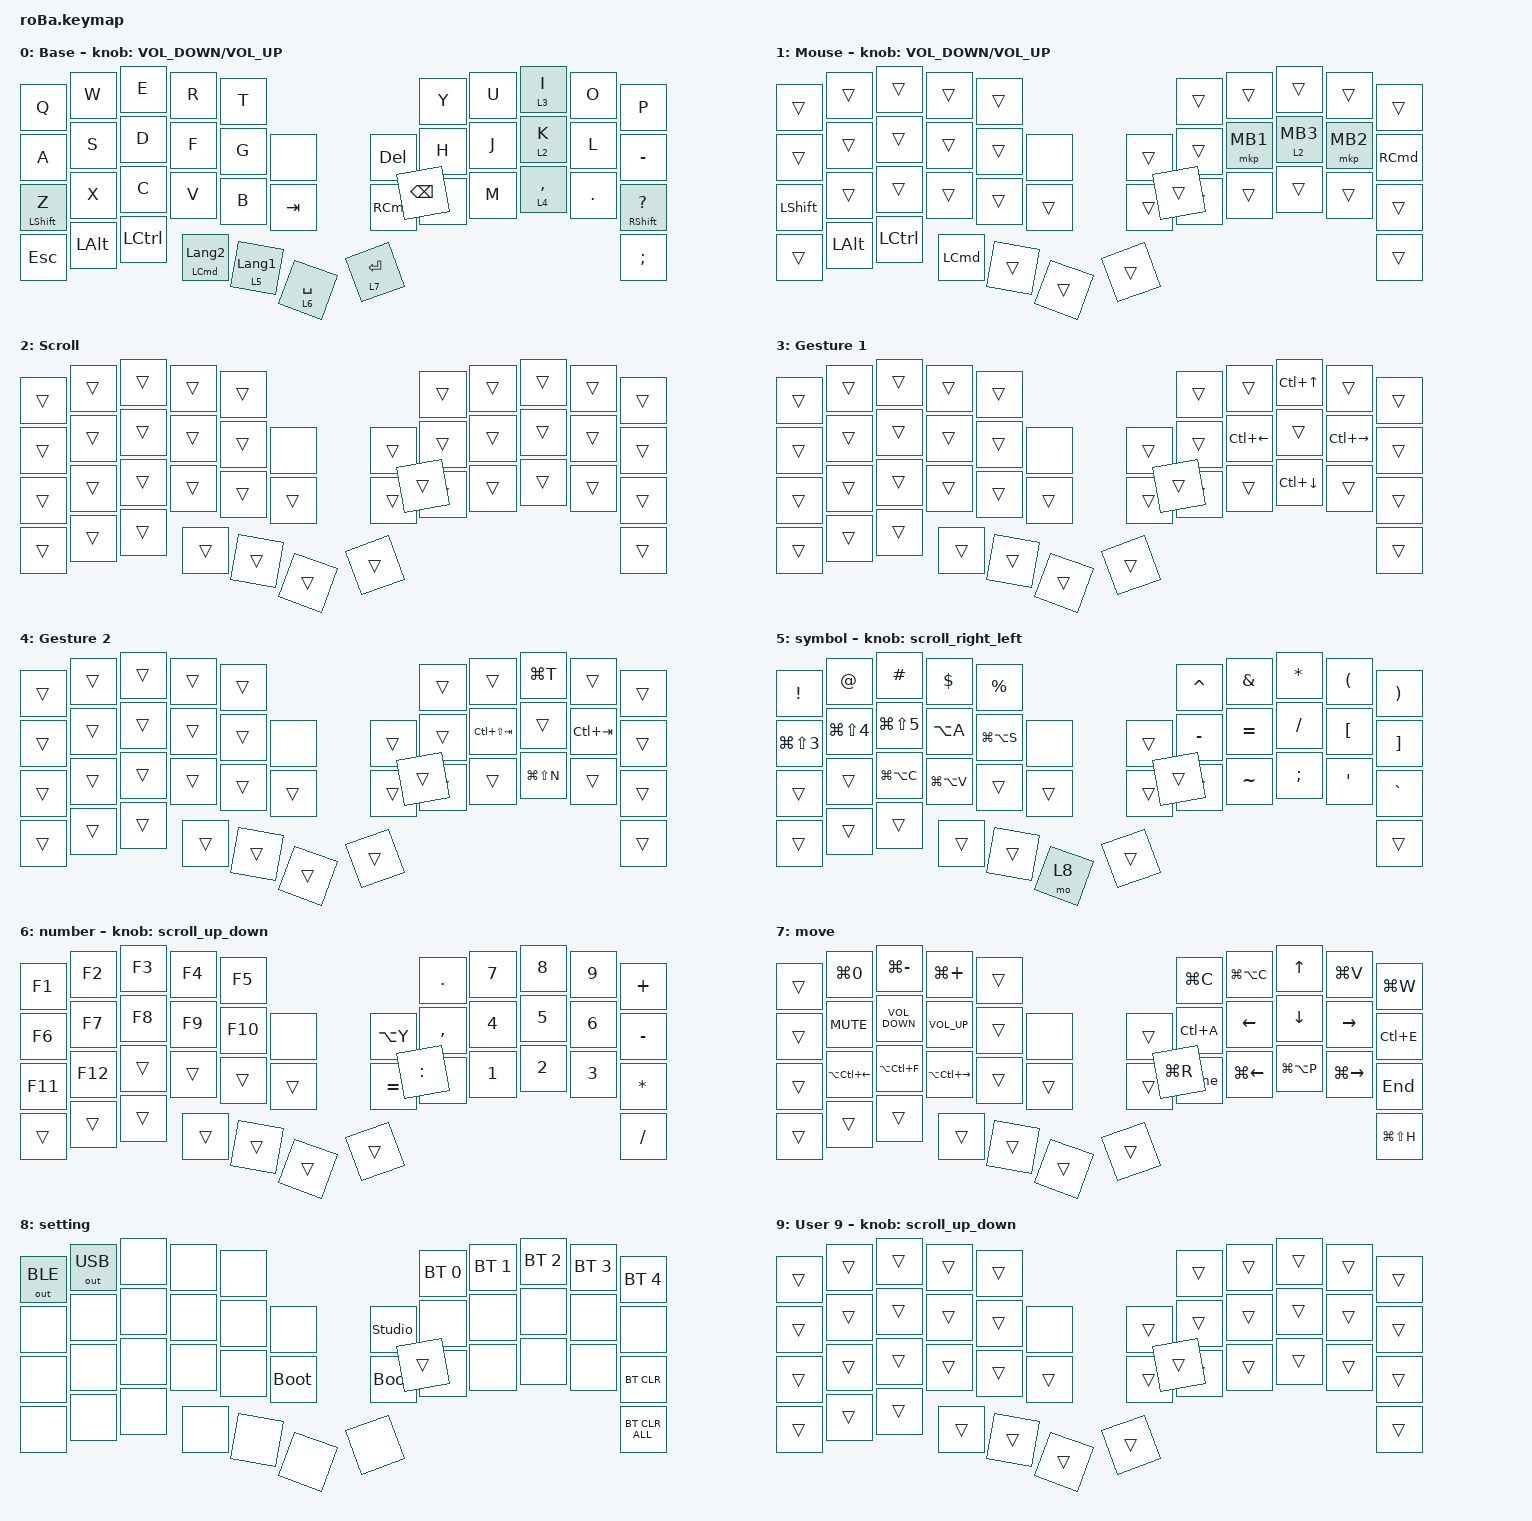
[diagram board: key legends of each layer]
#include <input/processors.dtsi>
#include <behaviors.dtsi>
#include <dt-bindings/zmk/bt.h>
#include <dt-bindings/zmk/keys.h>
#include <dt-bindings/zmk/outputs.h>
#include <dt-bindings/zmk/pointing.h>

#undef ZMK_POINTING_DEFAULT_SCRL_VAL

#define ZMK_POINTING_DEFAULT_SCRL_VAL 100

&mt {
    tapping-term-ms = <300>;
    flavor = "balanced";
    quick-tap-ms = <0>;
};

&lt {
    tapping-term-ms = <300>;
    quick-tap-ms = <300>;
    flavor = "balanced";
};

/* Keep Keymap Editor's standard two-parameter encoder UI while filtering
 * both directions through the shared two-input volume divider. */

&inc_dec_kp {
    bindings = <&encoder_key_divider_cw>, <&encoder_key_divider_ccw>;
};

&zip_temp_layer {
    require-prior-idle-ms = <300>;
    excluded-positions = <AML_EXCLUDED_POSITIONS>;
};

&mkp_input_listener { input-processors = <&zip_temp_layer 1 10000>; };

/ {
    combos {
        compatible = "zmk,combos";

        exit_app {
            bindings = <&kp LG(Q)>;
            key-positions = <8 9>;
        };

        log_off {
            bindings = <&kp LG(LC(Q))>;
            key-positions = <33 32>;
        };
    };

    behaviors {
        mouse_lt: mouse_layer_tap {
            compatible = "zmk,behavior-hold-tap";
            #binding-cells = <2>;
            flavor = "tap-preferred";
            tapping-term-ms = <300>;
            quick-tap-ms = <300>;
            bindings = <&mo>, <&mkp>;

            display-name = "Mouse Layer-Tap";
        };

        encoder_key_divider_cw: encoder_key_divider_cw {
            compatible = "zmk,behavior-encoder-key-divider";
            #binding-cells = <1>;
            bindings = <&kp>;
            divisor = <2>;
            timeout-ms = <300>;
            direction = <1>;
            display-name = "Encoder Two-Step Clockwise";
        };

        encoder_key_divider_ccw: encoder_key_divider_ccw {
            compatible = "zmk,behavior-encoder-key-divider";
            #binding-cells = <1>;
            bindings = <&kp>;
            divisor = <2>;
            timeout-ms = <300>;
            direction = <2>;
            display-name = "Encoder Two-Step Counter-Clockwise";
        };

        scroll_up_down: mouse_wheel_up_down {
            compatible = "zmk,behavior-sensor-rotate";
            #sensor-binding-cells = <0>;
            bindings = <&msc SCRL_DOWN>, <&msc SCRL_UP>;

            tap-ms = <20>;
        };

        scroll_down_up: mouse_wheel_down_up {
            compatible = "zmk,behavior-sensor-rotate";
            #sensor-binding-cells = <0>;
            bindings = <&msc SCRL_UP>, <&msc SCRL_DOWN>;

            tap-ms = <20>;
        };

        scroll_right_left: mouse_wheel_right_left {
            compatible = "zmk,behavior-sensor-rotate";
            #sensor-binding-cells = <0>;
            bindings = <&msc SCRL_LEFT>, <&msc SCRL_RIGHT>;

            tap-ms = <20>;
        };
    };

    keymap {
        compatible = "zmk,keymap";

        layer_0 {
            display-name = "Base";
            bindings = <
&kp Q             &kp W         &kp E      &kp R                        &kp T                                                 &kp Y          &kp U  &lt 3 I      &kp O    &kp P
&kp A             &kp S         &kp D      &kp F                        &kp G             &none            &kp DELETE         &kp H          &kp J  &lt 2 K      &kp L    &kp MINUS
&mt LEFT_SHIFT Z  &kp X         &kp C      &kp V                        &kp B             &kp TAB          &kp RIGHT_COMMAND  &kp N          &kp M  &lt 4 COMMA  &kp DOT  &mt RIGHT_SHIFT QUESTION
&kp ESCAPE        &kp LEFT_ALT  &kp LCTRL  &mt LEFT_COMMAND LANGUAGE_2  &lt 5 LANGUAGE_1  &lt 6 SPACE      &lt 7 ENTER        &kp BACKSPACE                               &kp SEMICOLON
            >;

            sensor-bindings = <&inc_dec_kp C_VOLUME_DOWN C_VOLUME_UP>;
        };

        layer_1 {
            display-name = "Mouse";
            bindings = <
&trans          &trans        &trans     &trans            &trans                      &trans  &trans    &trans           &trans    &trans
&trans          &trans        &trans     &trans            &trans  &none       &trans  &trans  &mkp MB1  &mouse_lt 2 MB3  &mkp MB2  &kp RIGHT_COMMAND
&kp LEFT_SHIFT  &trans        &trans     &trans            &trans  &trans      &trans  &trans  &trans    &trans           &trans    &trans
&trans          &kp LEFT_ALT  &kp LCTRL  &kp LEFT_COMMAND  &trans  &trans      &trans  &trans                                       &trans
            >;

            sensor-bindings = <&inc_dec_kp C_VOLUME_DOWN C_VOLUME_UP>;
        };

        layer_2 {
            display-name = "Scroll";
            bindings = <
&trans  &trans  &trans  &trans  &trans                      &trans  &trans  &trans  &trans  &trans
&trans  &trans  &trans  &trans  &trans  &none       &trans  &trans  &trans  &trans  &trans  &trans
&trans  &trans  &trans  &trans  &trans  &trans      &trans  &trans  &trans  &trans  &trans  &trans
&trans  &trans  &trans  &trans  &trans  &trans      &trans  &trans                          &trans
            >;
        };

        layer_3 {
            display-name = "Gesture 1";
            bindings = <
&trans  &trans  &trans  &trans  &trans                      &trans  &trans              &kp LC(UP_ARROW)    &trans               &trans
&trans  &trans  &trans  &trans  &trans  &none       &trans  &trans  &kp LC(LEFT_ARROW)  &trans              &kp LC(RIGHT_ARROW)  &trans
&trans  &trans  &trans  &trans  &trans  &trans      &trans  &trans  &trans              &kp LC(DOWN_ARROW)  &trans               &trans
&trans  &trans  &trans  &trans  &trans  &trans      &trans  &trans                                                               &trans
            >;
        };

        layer_4 {
            display-name = "Gesture 2";
            bindings = <
&trans  &trans  &trans  &trans  &trans                      &trans  &trans           &kp LG(T)      &trans       &trans
&trans  &trans  &trans  &trans  &trans  &none       &trans  &trans  &kp LC(LS(TAB))  &trans         &kp LC(TAB)  &trans
&trans  &trans  &trans  &trans  &trans  &trans      &trans  &trans  &trans           &kp LG(LS(N))  &trans       &trans
&trans  &trans  &trans  &trans  &trans  &trans      &trans  &trans                                               &trans
            >;
        };

        layer_5 {
            display-name = "symbol";
            bindings = <
&kp EXCLAMATION  &kp AT_SIGN     &kp HASH        &kp DOLLAR     &kp PERCENT                        &kp CARET  &kp AMPERSAND  &kp ASTERISK   &kp LEFT_PARENTHESIS  &kp RIGHT_PARENTHESIS
&kp LG(LS(N3))   &kp LG(LS(N4))  &kp LG(LS(N5))  &kp LA(A)      &kp LG(LA(S))  &none       &trans  &kp MINUS  &kp EQUAL      &kp SLASH      &kp LEFT_BRACKET      &kp RIGHT_BRACKET
&trans           &trans          &kp LG(LA(C))   &kp LG(LA(V))  &trans         &trans      &trans  &trans     &kp TILDE      &kp SEMICOLON  &kp SQT               &kp GRAVE
&trans           &trans          &trans          &trans         &trans         &mo 8       &trans  &trans                                                         &trans
            >;

            sensor-bindings = <&scroll_right_left>;
        };

        layer_6 {
            display-name = "number";
            bindings = <
&kp F1   &kp F2   &kp F3  &kp F4  &kp F5                          &kp PERIOD    &kp NUMBER_7  &kp NUMBER_8  &kp NUMBER_9  &kp PLUS
&kp F6   &kp F7   &kp F8  &kp F9  &kp F10  &none       &kp LA(Y)  &kp COMMA     &kp NUMBER_4  &kp NUMBER_5  &kp NUMBER_6  &kp MINUS
&kp F11  &kp F12  &trans  &trans  &trans   &trans      &kp EQUAL  &kp NUMBER_0  &kp NUMBER_1  &kp NUMBER_2  &kp NUMBER_3  &kp ASTERISK
&trans   &trans   &trans  &trans  &trans   &trans      &trans     &kp COLON                                               &kp SLASH
            >;

            sensor-bindings = <&scroll_up_down>;
        };

        layer_7 {
            display-name = "move";
            bindings = <
&trans  &kp LG(N0)              &kp LG(MINUS)      &kp LG(PLUS)             &trans                      &kp LG(C)  &kp LG(LA(C))       &kp UP_ARROW    &kp LG(V)            &kp LG(W)
&trans  &kp K_MUTE              &kp C_VOLUME_DOWN  &kp C_VOLUME_UP          &trans  &none       &trans  &kp LC(A)  &kp LEFT_ARROW      &kp DOWN_ARROW  &kp RIGHT_ARROW      &kp LC(E)
&trans  &kp LA(LC(LEFT_ARROW))  &kp LA(LC(F))      &kp LA(LC(RIGHT_ARROW))  &trans  &trans      &trans  &kp HOME   &kp LG(LEFT_ARROW)  &kp LG(LA(P))   &kp LG(RIGHT_ARROW)  &kp END
&trans  &trans                  &trans             &trans                   &trans  &trans      &trans  &kp LG(R)                                                           &kp LG(LS(H))
            >;
        };

        layer_8 {
            display-name = "setting";
            bindings = <
&out OUT_BLE  &out OUT_USB  &none  &none  &none                                   &bt BT_SEL 0  &bt BT_SEL 1  &bt BT_SEL 2  &bt BT_SEL 3  &bt BT_SEL 4
&none         &none         &none  &none  &none  &none            &studio_unlock  &none         &none         &none         &none         &none
&none         &none         &none  &none  &none  &bootloader      &bootloader     &none         &none         &none         &none         &bt BT_CLR
&none         &none         &none  &none  &none  &none            &none           &trans                                                  &bt BT_CLR_ALL
            >;
        };

        layer_9 {
            display-name = "User 9";
            bindings = <
&trans  &trans  &trans  &trans  &trans                      &trans  &trans  &trans  &trans  &trans
&trans  &trans  &trans  &trans  &trans  &none       &trans  &trans  &trans  &trans  &trans  &trans
&trans  &trans  &trans  &trans  &trans  &trans      &trans  &trans  &trans  &trans  &trans  &trans
&trans  &trans  &trans  &trans  &trans  &trans      &trans  &trans                          &trans
            >;

            sensor-bindings = <&scroll_up_down>;
        };
    };
};
